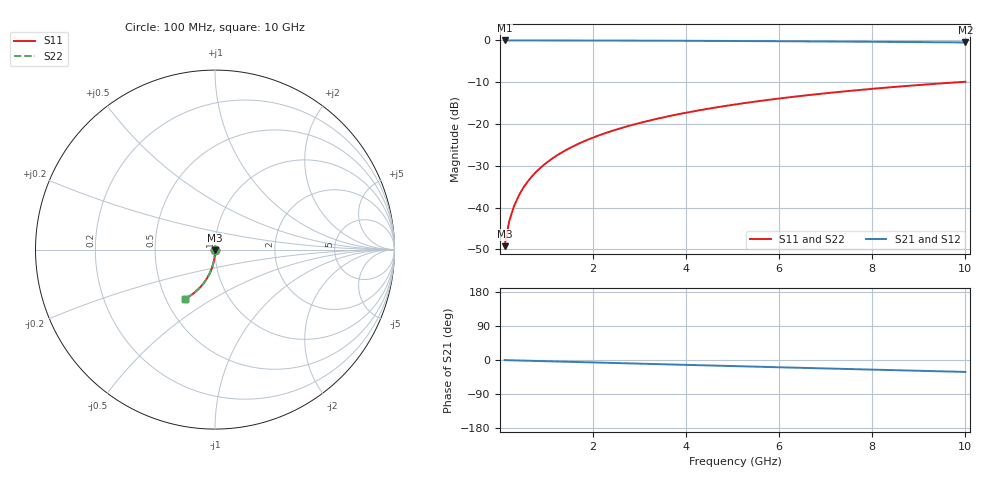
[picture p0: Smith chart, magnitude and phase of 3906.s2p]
# Hz S RI R 50.00
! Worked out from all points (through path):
!   100 points, 100 MHz to 10 GHz, reference 50 ohm
!   highest |S21| = 0.00 dB at 100 MHz (marker M1); lowest = -0.5 dB at 10 GHz (marker M2)
!   group delay of S21, straight-line fit = 8.76 ps
!   lowest |S11| = -49.2 dB at 100 MHz (marker M3), VSWR 1.01, Z = 50 - j0.344 ohm
!   |S11| at or under -10 dB: start of sweep to 9.843 GHz
!   |S22| runs from -49.2 to -9.9 dB; largest |S21 - S12| = 0
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1e8  0.000298 -0.00344  0.9997 -0.0056  0.9997 -0.0056  0.000298 -0.00344
2e8  0.000238 -0.00688  0.9996 -0.0112  0.9996 -0.0112  0.000238 -0.00688
3e8  0.000139 -0.0103  0.9995 -0.0168  0.9995 -0.0168  0.000139 -0.0103
4e8  1.05e-06 -0.0138  0.9993 -0.0224  0.9993 -0.0224  1.05e-06 -0.0138
5e8  -0.000176 -0.0172  0.9991 -0.028  0.9991 -0.028  -0.000176 -0.0172
6e8  -0.000391 -0.0206  0.9989 -0.0336  0.9989 -0.0336  -0.000391 -0.0206
7e8  -0.000645 -0.0241  0.9986 -0.0392  0.9986 -0.0392  -0.000645 -0.0241
8e8  -0.000937 -0.0275  0.9983 -0.0447  0.9983 -0.0447  -0.000937 -0.0275
9e8  -0.00127 -0.0309  0.9979 -0.0503  0.9979 -0.0503  -0.00127 -0.0309
1.1e9  -0.00204 -0.0378  0.997 -0.0615  0.997 -0.0615  -0.00204 -0.0378
1.4e9  -0.0035 -0.048  0.9954 -0.0782  0.9954 -0.0782  -0.0035 -0.048
1.8e9  -0.00597 -0.0616  0.9926 -0.1004  0.9926 -0.1004  -0.00597 -0.0616
2.1e9  -0.00822 -0.0717  0.9901 -0.117  0.9901 -0.117  -0.00822 -0.0717
2.5e9  -0.0117 -0.085  0.9861 -0.139  0.9861 -0.139  -0.0117 -0.085
2.9e9  -0.0159 -0.0981  0.9815 -0.1608  0.9815 -0.1608  -0.0159 -0.0981
3.4e9  -0.0218 -0.1143  0.9748 -0.1878  0.9748 -0.1878  -0.0218 -0.1143
4.2e9  -0.0332 -0.1393  0.962 -0.2303  0.962 -0.2303  -0.0332 -0.1393
5.1e9  -0.0485 -0.1659  0.9447 -0.2766  0.9447 -0.2766  -0.0485 -0.1659
5.9e9  -0.0641 -0.1881  0.9269 -0.3164  0.9269 -0.3164  -0.0641 -0.1881
6.7e9  -0.0815 -0.2086  0.907 -0.3547  0.907 -0.3547  -0.0815 -0.2086
8.4e9  -0.1234 -0.2462  0.8588 -0.4303  0.8588 -0.4303  -0.1234 -0.2462
1e10  -0.1672 -0.2734  0.8074 -0.4938  0.8074 -0.4938  -0.1672 -0.2734
